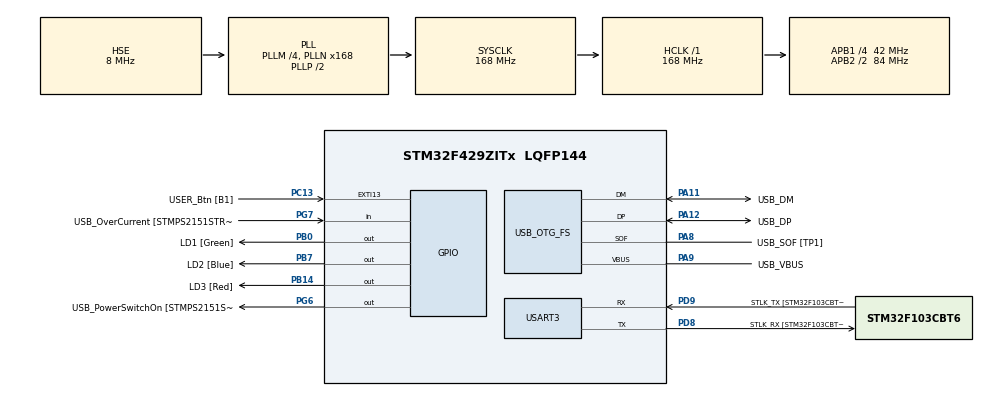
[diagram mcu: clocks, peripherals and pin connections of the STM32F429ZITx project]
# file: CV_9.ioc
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Mcu.Family=STM32F4
Mcu.Name=STM32F429ZITx
Mcu.Package=LQFP144
NVIC.OTG_FS_IRQn=true\:0\:0\:false\:false\:true\:false\:true
NVIC.PriorityGroup=NVIC_PRIORITYGROUP_4
PA1.GPIO_Label=RMII_REF_CLK [LAN8742A-CZ-TR_REFCLK0]
PA1.Signal=ETH_REF_CLK
PA10.GPIO_Label=USB_ID
PA10.Signal=USB_OTG_FS_ID
PA11.GPIO_Label=USB_DM
PA11.Mode=Device_Only
PA11.Signal=USB_OTG_FS_DM
PA12.GPIO_Label=USB_DP
PA12.Mode=Device_Only
PA12.Signal=USB_OTG_FS_DP
PA13.GPIO_Label=TMS
PA13.Mode=Serial_Wire
PA13.Signal=SYS_JTMS-SWDIO
PA14.GPIO_Label=TCK
PA14.Mode=Serial_Wire
PA14.Signal=SYS_JTCK-SWCLK
PA2.GPIO_Label=RMII_MDIO [LAN8742A-CZ-TR_MDIO]
PA2.Signal=ETH_MDIO
PA7.GPIO_Label=RMII_CRS_DV [LAN8742A-CZ-TR_CRS_DV]
PA7.Signal=ETH_CRS_DV
PA8.GPIO_Label=USB_SOF [TP1]
PA8.Mode=Activate_SOF_FS
PA8.Signal=USB_OTG_FS_SOF
PA9.GPIO_Label=USB_VBUS
PA9.Mode=Activate_VBUS
PA9.Signal=USB_OTG_FS_VBUS
PB0.GPIO_Label=LD1 [Green]
PB0.Signal=GPIO_Output
PB13.GPIO_Label=RMII_TXD1 [LAN8742A-CZ-TR_TXD1]
PB13.Signal=ETH_TXD1
PB14.GPIO_Label=LD3 [Red]
PB14.Signal=GPIO_Output
PB7.GPIO_Label=LD2 [Blue]
PB7.Signal=GPIO_Output
PC1.GPIO_Label=RMII_MDC [LAN8742A-CZ-TR_MDC]
PC1.Signal=ETH_MDC
PC13.GPIO_Label=USER_Btn [B1]
PC13.Signal=GPXTI13
PC14/OSC32_IN.Mode=LSE-External-Oscillator
PC14/OSC32_IN.Signal=RCC_OSC32_IN
PC15/OSC32_OUT.Mode=LSE-External-Oscillator
PC15/OSC32_OUT.Signal=RCC_OSC32_OUT
PC4.GPIO_Label=RMII_RXD0 [LAN8742A-CZ-TR_RXD0]
PC4.Signal=ETH_RXD0
PC5.GPIO_Label=RMII_RXD1 [LAN8742A-CZ-TR_RXD1]
PC5.Signal=ETH_RXD1
PD8.GPIO_Label=STLK_RX [STM32F103CBT6_PA3]
PD8.Mode=Asynchronous
PD8.Signal=USART3_TX
PD9.GPIO_Label=STLK_TX [STM32F103CBT6_PA2]
PD9.Mode=Asynchronous
PD9.Signal=USART3_RX
PG11.GPIO_Label=RMII_TX_EN [LAN8742A-CZ-TR_TXEN]
PG11.Signal=ETH_TX_EN
PG13.GPIO_Label=RMII_TXD0 [LAN8742A-CZ-TR_TXD0]
PG13.Signal=ETH_TXD0
PG6.GPIO_Label=USB_PowerSwitchOn [STMPS2151STR_EN]
PG6.Signal=GPIO_Output
PG7.GPIO_Label=USB_OverCurrent [STMPS2151STR_FAULT]
PG7.Signal=GPIO_Input
PH0/OSC_IN.GPIO_Label=MCO [STM32F103CBT6_PA8]
PH0/OSC_IN.Mode=HSE-External-Clock-Source
PH0/OSC_IN.Signal=RCC_OSC_IN
PH1/OSC_OUT.Mode=HSE-External-Clock-Source
PH1/OSC_OUT.Signal=RCC_OSC_OUT
ProjectManager.HeapSize=0x200
ProjectManager.StackSize=0x400
ProjectManager.TargetToolchain=STM32CubeIDE
RCC.48MHZClocksFreq_Value=48000000
RCC.AHBFreq_Value=168000000
RCC.APB1CLKDivider=RCC_HCLK_DIV4
RCC.APB1Freq_Value=42000000
RCC.APB1TimFreq_Value=84000000
RCC.APB2CLKDivider=RCC_HCLK_DIV2
RCC.APB2Freq_Value=84000000
RCC.APB2TimCLKDivider=2
RCC.APB2TimFreq_Value=168000000
RCC.CortexFreq_Value=168000000
RCC.HCLKFreq_Value=168000000
RCC.HSE_VALUE=8000000
RCC.HSI_VALUE=16000000
RCC.PLLM=4
RCC.PLLMUL=RCC_PLL_MUL9
RCC.PLLN=168
RCC.PLLQ=7
RCC.PRESCALERUSB=RCC_USBCLKSOURCE_PLL_DIV1_5
RCC.SYSCLKFreq_VALUE=168000000
RCC.SYSCLKSource=RCC_SYSCLKSOURCE_PLLCLK
RCC.SYSCLKSourceVirtual=RCC_SYSCLKSOURCE_PLLCLK
RCC.USBFreq_Value=48000000
RCC.VCOOutputFreq_Value=336000000
USART3.VirtualMode=VM_ASYNC
USB_DEVICE.CLASS_NAME_FS=HID
USB_DEVICE.VirtualMode-HID_FS=Hid
USB_DEVICE.VirtualModeFS=Hid_FS
USB_OTG_FS.VirtualMode=Device_Only
VP_USB_DEVICE_VS_USB_DEVICE_HID_FS.Mode=HID_FS
board=NUCLEO-F429ZI

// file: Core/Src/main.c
/* USER CODE BEGIN Header */
/**
  ******************************************************************************
  * @file           : main.c
  * @brief          : Main program body
  ******************************************************************************
  * @attention
  *
  * <h2><center>&copy; Copyright (c) 2021 STMicroelectronics.
  * All rights reserved.</center></h2>
  *
  * This software component is licensed by ST under BSD 3-Clause license,
  * the "License"; You may not use this file except in compliance with the
  * License. You may obtain a copy of the License at:
  *                        opensource.org/licenses/BSD-3-Clause
  *
  ******************************************************************************
  */
/* USER CODE END Header */
#include "main.h"
#include "usb_device.h"

/* USER CODE BEGIN Includes */
#include "usbd_hid.h"
#include "stdio.h"
#include <math.h>
#include <stdbool.h>

/* USER CODE END Includes */

UART_HandleTypeDef huart3;

/* USER CODE BEGIN PV */
extern USBD_HandleTypeDef hUsbDeviceFS;
/* USER CODE END PV */

void SystemClock_Config(void);
static void MX_GPIO_Init(void);
static void MX_USART3_UART_Init(void);

/* USER CODE BEGIN 0 */
void step(int x, int y, bool btn)
{
	  uint8_t buff[4]; // Shift and refresh button painting
	  if (btn == 1)
	  {
		  buff[0] = 0x01; // press mouse button
	  }
	  else
	  {
		  buff[0] = 0x00;
	  }

	  buff[1] = (int8_t)(x); // shift X +10
	  buff[2] = (int8_t)(y); // shift Y -3
	  buff[3] = 0; // without scroll
	  USBD_HID_SendReport(&hUsbDeviceFS, buff, sizeof(buff));
	  HAL_Delay(USBD_HID_GetPollingInterval(&hUsbDeviceFS));
}

void circle(int radius, uint16_t uhel_s, uint16_t uhel_c)
{
	  float x = 0;
	  float y = 0;

	  int32_t dx=0;
	  int32_t dy=0;

	  int32_t sx=0;
	  int32_t sy=0;

	  uint16_t angle = 0;
	  for(angle = uhel_s ; angle <= uhel_c; angle = angle+10)
	  {
		  sx=x;
		  sy=y;

		  x= radius*cos(M_PI*angle/180);
		  y= radius*sin(M_PI*angle/180);

		  dx=sx-x; // equal of differance
		  dy=sy-y;

		  step(dx,dy,1);

		  sx=sx+dx; // refresh X and Y
		  sy=sy+dy;

	  }

}

/* USER CODE END 0 */

int main(void)
{

  /* MCU Configuration--------------------------------------------------------*/

  /* Reset of all peripherals, Initializes the Flash interface and the Systick. */
  HAL_Init();

  /* Configure the system clock */
  SystemClock_Config();

  /* Initialize all configured peripherals */
  MX_GPIO_Init();
  MX_USART3_UART_Init();
  MX_USB_DEVICE_Init();

  /* Infinite loop */
  /* USER CODE BEGIN WHILE */
  while (1)
  {
	  if (HAL_GPIO_ReadPin(USER_Btn_GPIO_Port,USER_Btn_Pin)==1) //after you press button B1, it will draw smile face
	  	  {
	  		  circle(100,0,360);

	  		  step(0,0,0);
	  		  step(40,-20,0);
	  		  circle(10,0,360);

	  		  step(0,0,0);
	  		  step(90,0,0);
	  		  circle(10,0,360);

	  		  step(0,0,0);
	  		  step(-40,0,1);
	  		  step(0,40,0);
	  		  step(0,0,0);

	  		  step(-30,10,0);
	  		  circle(50,180,360);
	  		  step(0,0,0);

	  	  }

	  /* USER CODE END WHILE */

  }
}

void SystemClock_Config(void)
{
  RCC_OscInitTypeDef RCC_OscInitStruct = {0};
  RCC_ClkInitTypeDef RCC_ClkInitStruct = {0};

  /** Configure the main internal regulator output voltage
  */
  __HAL_RCC_PWR_CLK_ENABLE();
  __HAL_PWR_VOLTAGESCALING_CONFIG(PWR_REGULATOR_VOLTAGE_SCALE1);
  /** Initializes the RCC Oscillators according to the specified parameters
  * in the RCC_OscInitTypeDef structure.
  */
  RCC_OscInitStruct.OscillatorType = RCC_OSCILLATORTYPE_HSE;
  RCC_OscInitStruct.HSEState = RCC_HSE_BYPASS;
  RCC_OscInitStruct.PLL.PLLState = RCC_PLL_ON;
  RCC_OscInitStruct.PLL.PLLSource = RCC_PLLSOURCE_HSE;
  RCC_OscInitStruct.PLL.PLLM = 4;
  RCC_OscInitStruct.PLL.PLLN = 168;
  RCC_OscInitStruct.PLL.PLLP = RCC_PLLP_DIV2;
  RCC_OscInitStruct.PLL.PLLQ = 7;
  if (HAL_RCC_OscConfig(&RCC_OscInitStruct) != HAL_OK)
  {
    Error_Handler();
  }
  /** Initializes the CPU, AHB and APB buses clocks
  */
  RCC_ClkInitStruct.ClockType = RCC_CLOCKTYPE_HCLK|RCC_CLOCKTYPE_SYSCLK
                              |RCC_CLOCKTYPE_PCLK1|RCC_CLOCKTYPE_PCLK2;
  RCC_ClkInitStruct.SYSCLKSource = RCC_SYSCLKSOURCE_PLLCLK;
  RCC_ClkInitStruct.AHBCLKDivider = RCC_SYSCLK_DIV1;
  RCC_ClkInitStruct.APB1CLKDivider = RCC_HCLK_DIV4;
  RCC_ClkInitStruct.APB2CLKDivider = RCC_HCLK_DIV2;

  if (HAL_RCC_ClockConfig(&RCC_ClkInitStruct, FLASH_LATENCY_5) != HAL_OK)
  {
    Error_Handler();
  }
}

static void MX_USART3_UART_Init(void)
{

  huart3.Instance = USART3;
  huart3.Init.BaudRate = 115200;
  huart3.Init.WordLength = UART_WORDLENGTH_8B;
  huart3.Init.StopBits = UART_STOPBITS_1;
  huart3.Init.Parity = UART_PARITY_NONE;
  huart3.Init.Mode = UART_MODE_TX_RX;
  huart3.Init.HwFlowCtl = UART_HWCONTROL_NONE;
  huart3.Init.OverSampling = UART_OVERSAMPLING_16;
  if (HAL_UART_Init(&huart3) != HAL_OK)
  {
    Error_Handler();
  }

}

static void MX_GPIO_Init(void)
{
  GPIO_InitTypeDef GPIO_InitStruct = {0};

  /* GPIO Ports Clock Enable */
  __HAL_RCC_GPIOC_CLK_ENABLE();
  __HAL_RCC_GPIOH_CLK_ENABLE();
  __HAL_RCC_GPIOA_CLK_ENABLE();
  __HAL_RCC_GPIOB_CLK_ENABLE();
  __HAL_RCC_GPIOD_CLK_ENABLE();
  __HAL_RCC_GPIOG_CLK_ENABLE();

  /*Configure GPIO pin Output Level */
  HAL_GPIO_WritePin(GPIOB, LD1_Pin|LD3_Pin|LD2_Pin, GPIO_PIN_RESET);

  /*Configure GPIO pin Output Level */
  HAL_GPIO_WritePin(USB_PowerSwitchOn_GPIO_Port, USB_PowerSwitchOn_Pin, GPIO_PIN_RESET);

  /*Configure GPIO pin : USER_Btn_Pin */
  GPIO_InitStruct.Pin = USER_Btn_Pin;
  GPIO_InitStruct.Mode = GPIO_MODE_IT_RISING;
  GPIO_InitStruct.Pull = GPIO_NOPULL;
  HAL_GPIO_Init(USER_Btn_GPIO_Port, &GPIO_InitStruct);

  /*Configure GPIO pins : RMII_MDC_Pin RMII_RXD0_Pin RMII_RXD1_Pin */
  GPIO_InitStruct.Pin = RMII_MDC_Pin|RMII_RXD0_Pin|RMII_RXD1_Pin;
  GPIO_InitStruct.Mode = GPIO_MODE_AF_PP;
  GPIO_InitStruct.Pull = GPIO_NOPULL;
  GPIO_InitStruct.Speed = GPIO_SPEED_FREQ_VERY_HIGH;
  GPIO_InitStruct.Alternate = GPIO_AF11_ETH;
  HAL_GPIO_Init(GPIOC, &GPIO_InitStruct);

  /*Configure GPIO pins : RMII_REF_CLK_Pin RMII_MDIO_Pin RMII_CRS_DV_Pin */
  GPIO_InitStruct.Pin = RMII_REF_CLK_Pin|RMII_MDIO_Pin|RMII_CRS_DV_Pin;
  GPIO_InitStruct.Mode = GPIO_MODE_AF_PP;
  GPIO_InitStruct.Pull = GPIO_NOPULL;
  GPIO_InitStruct.Speed = GPIO_SPEED_FREQ_VERY_HIGH;
  GPIO_InitStruct.Alternate = GPIO_AF11_ETH;
  HAL_GPIO_Init(GPIOA, &GPIO_InitStruct);

  /*Configure GPIO pins : LD1_Pin LD3_Pin LD2_Pin */
  GPIO_InitStruct.Pin = LD1_Pin|LD3_Pin|LD2_Pin;
  GPIO_InitStruct.Mode = GPIO_MODE_OUTPUT_PP;
  GPIO_InitStruct.Pull = GPIO_NOPULL;
  GPIO_InitStruct.Speed = GPIO_SPEED_FREQ_LOW;
  HAL_GPIO_Init(GPIOB, &GPIO_InitStruct);

  /*Configure GPIO pin : RMII_TXD1_Pin */
  GPIO_InitStruct.Pin = RMII_TXD1_Pin;
  GPIO_InitStruct.Mode = GPIO_MODE_AF_PP;
  GPIO_InitStruct.Pull = GPIO_NOPULL;
  GPIO_InitStruct.Speed = GPIO_SPEED_FREQ_VERY_HIGH;
  GPIO_InitStruct.Alternate = GPIO_AF11_ETH;
  HAL_GPIO_Init(RMII_TXD1_GPIO_Port, &GPIO_InitStruct);

  /*Configure GPIO pin : USB_PowerSwitchOn_Pin */
  GPIO_InitStruct.Pin = USB_PowerSwitchOn_Pin;
  GPIO_InitStruct.Mode = GPIO_MODE_OUTPUT_PP;
  GPIO_InitStruct.Pull = GPIO_NOPULL;
  GPIO_InitStruct.Speed = GPIO_SPEED_FREQ_LOW;
  HAL_GPIO_Init(USB_PowerSwitchOn_GPIO_Port, &GPIO_InitStruct);

  /*Configure GPIO pin : USB_OverCurrent_Pin */
  GPIO_InitStruct.Pin = USB_OverCurrent_Pin;
  GPIO_InitStruct.Mode = GPIO_MODE_INPUT;
  GPIO_InitStruct.Pull = GPIO_NOPULL;
  HAL_GPIO_Init(USB_OverCurrent_GPIO_Port, &GPIO_InitStruct);

  /*Configure GPIO pins : RMII_TX_EN_Pin RMII_TXD0_Pin */
  GPIO_InitStruct.Pin = RMII_TX_EN_Pin|RMII_TXD0_Pin;
  GPIO_InitStruct.Mode = GPIO_MODE_AF_PP;
  GPIO_InitStruct.Pull = GPIO_NOPULL;
  GPIO_InitStruct.Speed = GPIO_SPEED_FREQ_VERY_HIGH;
  GPIO_InitStruct.Alternate = GPIO_AF11_ETH;
  HAL_GPIO_Init(GPIOG, &GPIO_InitStruct);

}

void Error_Handler(void)
{
  __disable_irq();
  while (1)
  {
  }
}

/************************ (C) COPYRIGHT STMicroelectronics *****END OF FILE****/
